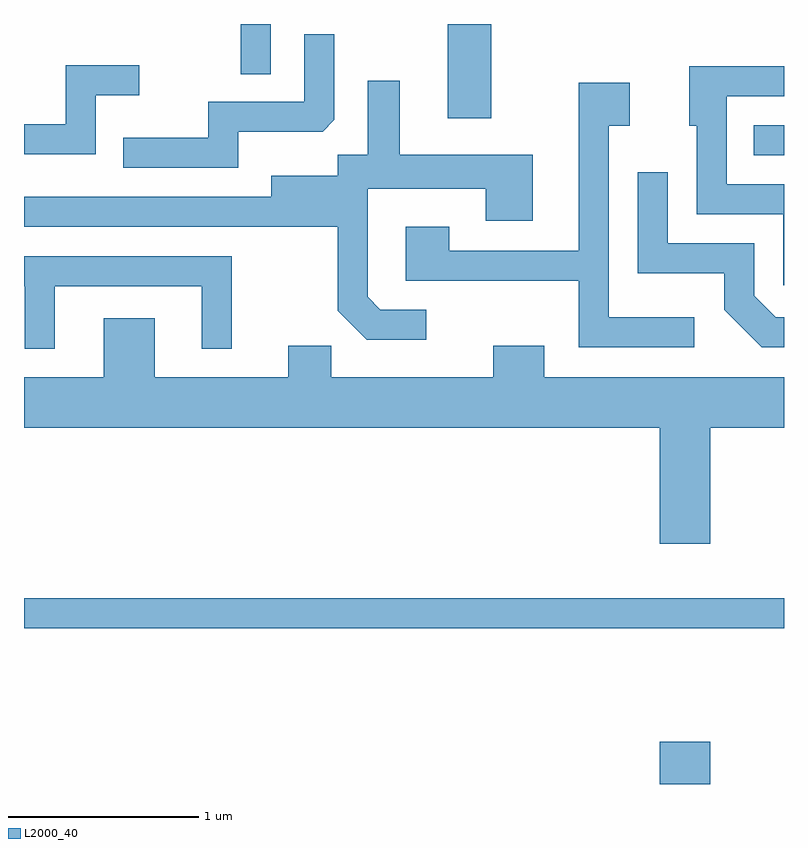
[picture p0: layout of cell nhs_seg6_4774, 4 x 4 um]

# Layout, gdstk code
import gdstk
lib = gdstk.Library(unit=1e-6, precision=1e-09)
def R(c, l, rs):  # rectangles x0, y0, x1, y1
    for r in rs: c.add(gdstk.rectangle(r[:2], r[2:], *l))
def P(c, l, *ps):  # polygons
    for p in ps: c.add(gdstk.Polygon(p, *l))
L2000_40 = (2000, 40)

nhs_seg6_4774 = lib.new_cell('nhs_seg6_4774')
R(nhs_seg6_4774, L2000_40, [(334.956,1548.162,335.224,1548.384), (331.611,1548.981,335.611,1549.139), (335.453,1551.471,335.611,1551.629), (333.841,1551.666,334.069,1552.162), (332.751,1551.898,332.909,1552.162)])
P(nhs_seg6_4774, L2000_40, [(332.739,1551.596),(333.184,1551.596),(333.244,1551.657),(333.244,1552.108),(333.086,1552.108),(333.086,1551.754),(332.581,1551.754),(332.581,1551.564),(332.133,1551.564),(332.133,1551.406),(332.739,1551.406)],
  [(331.989,1551.786),(332.218,1551.786),(332.218,1551.944),(331.831,1551.944),(331.831,1551.634),(331.611,1551.634),(331.611,1551.476),(331.989,1551.476)],
  [(335.611,1551.319),(335.309,1551.319),(335.309,1551.781),(335.611,1551.781),(335.611,1551.939),(335.111,1551.939),(335.111,1551.626),(335.151,1551.626),(335.151,1551.161),(335.606,1551.161),(335.606,1550.788),(335.611,1550.788)],
  [(333.728,1550.659),(333.487,1550.659),(333.419,1550.727),(333.419,1551.296),(334.041,1551.296),(334.041,1551.126),(334.289,1551.126),(334.289,1551.474),(333.589,1551.474),(333.589,1551.863),(333.421,1551.863),(333.421,1551.474),(333.261,1551.474),(333.261,1551.364),(332.911,1551.364),(332.911,1551.254),(331.611,1551.254),(331.611,1551.096),(333.261,1551.096),(333.261,1550.654),(333.414,1550.501),(333.728,1550.501)],
  [(335.138,1550.619),(334.689,1550.619),(334.689,1551.626),(334.799,1551.626),(334.799,1551.854),(334.531,1551.854),(334.531,1550.969),(333.849,1550.969),(333.849,1551.094),(333.621,1551.094),(333.621,1550.811),(334.531,1550.811),(334.531,1550.461),(335.138,1550.461)],
  [(335.611,1550.619),(335.567,1550.619),(335.454,1550.732),(335.454,1551.009),(334.999,1551.009),(334.999,1551.383),(334.841,1551.383),(334.841,1550.851),(335.296,1550.851),(335.296,1550.659),(335.494,1550.461),(335.611,1550.461)],
  [(331.774,1550.781),(332.546,1550.781),(332.546,1550.453),(332.704,1550.453),(332.704,1550.939),(331.611,1550.939),(331.611,1550.781),(331.616,1550.781),(331.616,1550.453),(331.774,1550.453)],
  [(335.224,1550.036),(335.611,1550.036),(335.611,1550.304),(334.349,1550.304),(334.349,1550.469),(334.081,1550.469),(334.081,1550.304),(333.229,1550.304),(333.229,1550.469),(333.001,1550.469),(333.001,1550.304),(332.299,1550.304),(332.299,1550.614),(332.031,1550.614),(332.031,1550.304),(331.611,1550.304),(331.611,1550.036),(334.956,1550.036),(334.956,1549.426),(335.224,1549.426)])

lib.write_gds('nhs_seg6_4774.gds')
